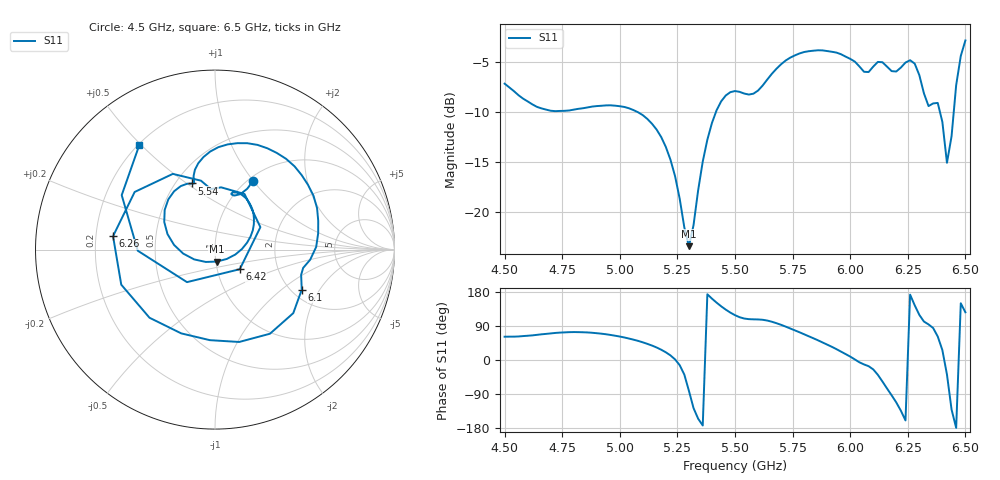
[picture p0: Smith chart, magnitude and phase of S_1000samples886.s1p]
! TOUCHSTONE file generated by CST MICROWAVE STUDIO
! Date and time: Sat Oct 29 17:03:48 2022
! Project name: L.cst
! Parameters = {Di=1.27; Epsilon_r=1.56; InnerDiameter=1.27; Length=2; Lf=10; Lg=60; OuterConductorThickness=0.2921; OuterDiameter=3.6; Wf=3; Wp=41.2; de=1.5; df=6.8; g=0.8; gx=0.829162; gy=1.8052; h=2.34; hf=1.524; px=12.1976; py=13.0557; w=9.7; wx=11.3685; wy=11.2505}
! Header version: 2018
! Port assignment regex: !\s*Touchstone port\s*([0-9]+)\s*=\s*(CST MWS port|CST DS port)\s*([0-9]+|Zmin|Zmax)\s*\(\"(.*)\"\)(\s*mode\s*([0-9]+))?.*
! Touchstone port assignment:
! Touchstone port 1 = CST MWS port 1 ("")
# GHz S DB R 50
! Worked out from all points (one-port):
!   101 points, 4.5 GHz to 6.5 GHz, reference 50 ohm
!   lowest |S11| = -23.4 dB at 5.3 GHz (marker M1), VSWR 1.14, Z = 50.6 - j6.78 ohm
!   |S11| at or under -10 dB: 5.076 GHz to 5.417 GHz (341.5 MHz wide, 6.51 % of centre); 6.39 GHz to 6.45 GHz (60 MHz wide, 0.935 % of centre)
!   S11 on the Smith chart (normalised r, x): 4.5 GHz: 1.05, +0.99; 5.54 GHz: 0.60, +0.52; 6.1 GHz: 2.26, -1.41; 6.26 GHz: 0.27, +0.06; 6.42 GHz: 1.28, -0.29; 6.5 GHz: 0.20, +0.49
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4.5  -7.18 61.5
4.76  -9.89 72.9
5  -9.43 61.9
5.16  -11.77 33.0
5.26  -18.68 -13.7
5.3  -23.41 -81.4
5.4  -11.10 161.9
5.5  -7.92 118.3
5.54  -8.17 109.4
5.66  -6.19 100.9
5.76  -4.35 78.2
5.86  -3.85 52.0
6  -4.70 9.0
6.1  -5.47 -24.8
6.14  -5.04 -56.9
6.18  -5.93 -93.3
6.22  -5.57 -133.9
6.26  -4.84 172.5
6.28  -5.18 144.3
6.3  -6.32 119.1
6.34  -9.42 93.9
6.38  -9.10 62.0
6.4  -10.99 26.3
6.42  -15.09 -38.3
6.44  -12.42 -130.7
6.46  -7.32 -179.2
6.48  -4.41 149.7
6.5  -2.86 125.9
